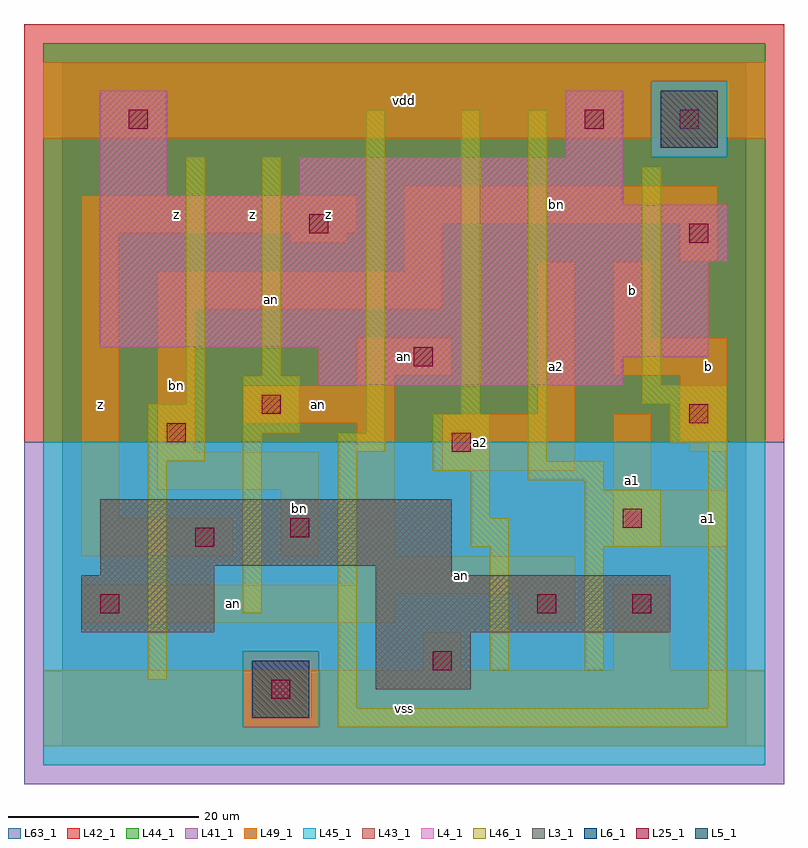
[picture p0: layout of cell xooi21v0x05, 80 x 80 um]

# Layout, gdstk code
import gdstk
lib = gdstk.Library(unit=1e-6, precision=1e-09)
def R(c, l, rs):  # rectangles x0, y0, x1, y1
    for r in rs: c.add(gdstk.rectangle(r[:2], r[2:], *l))
L3_1 = (3, 1)
L4_1 = (4, 1)
L5_1 = (5, 1)
L6_1 = (6, 1)
L25_1 = (25, 1)
L41_1 = (41, 1)
L42_1 = (42, 1)
L43_1 = (43, 1)
L44_1 = (44, 1)
L45_1 = (45, 1)
L46_1 = (46, 1)
L49_1 = (49, 1)
L63_1 = (63, 1)

xooi21v0x05 = lib.new_cell('xooi21v0x05')
R(xooi21v0x05, L3_1, [(33,6,43,12), (2,12,16,18), (33,12,64,18), (4,18,16,19), (33,18,41,19), (4,19,41,26)])
R(xooi21v0x05, L4_1, [(27,38,59,41), (27,41,68,42), (4,42,68,51), (4,51,70,57), (4,57,59,58), (4,58,11,69), (25,58,59,62), (53,62,59,69)])
R(xooi21v0x05, L5_1, [(63,63,69,69)])
R(xooi21v0x05, L6_1, [(20,3,26,9), (20,3,26,9)])
R(xooi21v0x05, L25_1, [(22,5,24,7), (39,8,41,10), (4,14,6,16), (50,14,52,16), (60,14,62,16), (14,21,16,23), (24,22,26,24), (59,23,61,25), (41,31,43,33), (11,32,13,34), (66,34,68,36), (21,35,23,37), (37,40,39,42), (66,53,68,55), (26,54,28,56), (7,65,9,67), (55,65,57,67), (65,65,67,67)])
R(xooi21v0x05, L41_1, [(-4,-4,76,32)])
R(xooi21v0x05, L42_1, [(-4,32,76,76)])
R(xooi21v0x05, L43_1, [(20,3,26,9), (33,6,43,12), (2,12,16,18), (33,12,64,18), (4,18,16,19), (33,18,41,19), (4,19,41,26), (27,38,59,41), (27,41,68,42), (4,42,68,51), (4,51,70,57), (4,57,59,58), (4,58,11,69), (25,58,59,62), (53,62,59,69), (63,63,69,69)])
R(xooi21v0x05, L44_1, [(19,2,27,10), (-2,32,74,62), (-2,62,62,70), (70,62,74,70), (-2,70,74,74)])
R(xooi21v0x05, L45_1, [(-2,-2,74,2), (-2,2,19,10), (27,2,74,10), (-2,10,74,32), (62,62,70,70)])
R(xooi21v0x05, L46_1, [(29,2,70,4), (29,4,31,31), (68,4,70,32), (9,7,11,30), (45,8,47,21), (55,8,57,21), (19,14,21,33), (43,21,47,24), (55,21,63,27), (43,24,45,29), (55,27,57,28), (49,28,57,30), (39,29,45,35), (9,30,15,36), (49,30,51,67), (29,31,34,33), (64,32,70,36), (19,33,25,39), (32,33,34,67), (42,35,44,67), (13,36,15,62), (61,36,70,38), (61,38,63,61), (21,39,23,62)])
R(xooi21v0x05, L49_1, [(-2,0,74,8), (38,8,42,12), (58,8,64,17), (2,13,35,16), (48,13,54,16), (2,16,54,17), (31,17,54,20), (2,20,18,24), (23,20,27,27), (31,20,35,34), (58,21,70,27), (2,24,6,54), (10,27,27,31), (58,27,62,35), (40,29,54,35), (10,31,14,46), (66,31,70,32), (65,32,70,39), (19,34,35,38), (50,35,54,51), (31,38,35,39), (31,39,41,43), (58,39,70,43), (58,43,62,51), (10,46,40,50), (36,50,40,55), (65,51,69,55), (24,53,30,54), (2,54,31,58), (36,55,69,59), (-2,64,74,72)])
R(xooi21v0x05, L63_1, [(0,0,72,72)])
xooi21v0x05.add(gdstk.Label('an', (22,47), layer=46, texttype=1))
xooi21v0x05.add(gdstk.Label('z', (4,36), layer=49, texttype=1))
xooi21v0x05.add(gdstk.Label('bn', (12,38), layer=49, texttype=1))
xooi21v0x05.add(gdstk.Label('z', (12,56), layer=49, texttype=1))
xooi21v0x05.add(gdstk.Label('an', (18,15), layer=49, texttype=1))
xooi21v0x05.add(gdstk.Label('bn', (25,25), layer=49, texttype=1))
xooi21v0x05.add(gdstk.Label('an', (27,36), layer=49, texttype=1))
xooi21v0x05.add(gdstk.Label('z', (28,56), layer=49, texttype=1))
xooi21v0x05.add(gdstk.Label('z', (20,56), layer=49, texttype=1))
xooi21v0x05.add(gdstk.Label('vss', (36,4), layer=49, texttype=1))
xooi21v0x05.add(gdstk.Label('an', (42,18), layer=49, texttype=1))
xooi21v0x05.add(gdstk.Label('a2', (44,32), layer=49, texttype=1))
xooi21v0x05.add(gdstk.Label('a2', (52,40), layer=49, texttype=1))
xooi21v0x05.add(gdstk.Label('an', (36,41), layer=49, texttype=1))
xooi21v0x05.add(gdstk.Label('vdd', (36,68), layer=49, texttype=1))
xooi21v0x05.add(gdstk.Label('a1', (60,28), layer=49, texttype=1))
xooi21v0x05.add(gdstk.Label('a1', (68,24), layer=49, texttype=1))
xooi21v0x05.add(gdstk.Label('b', (68,40), layer=49, texttype=1))
xooi21v0x05.add(gdstk.Label('b', (60,48), layer=49, texttype=1))
xooi21v0x05.add(gdstk.Label('bn', (52,57), layer=49, texttype=1))

lib.write_gds('xooi21v0x05.gds')
